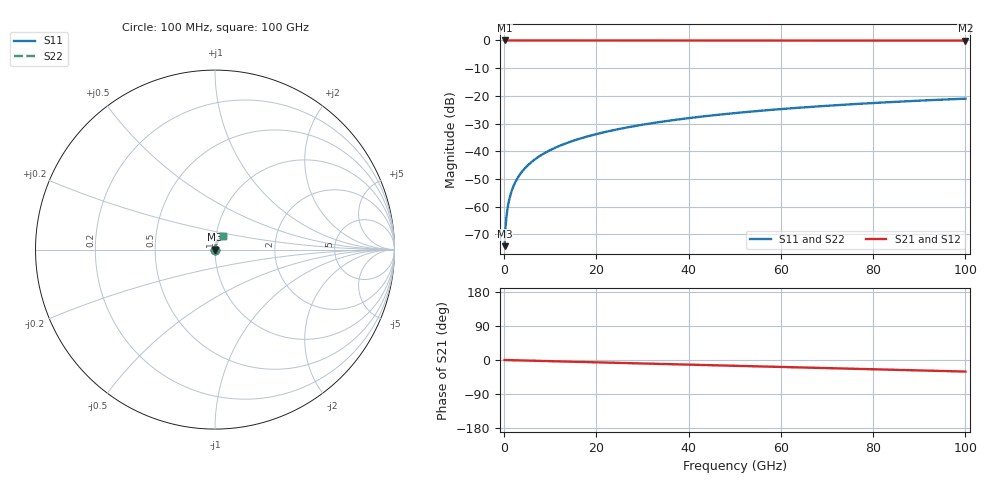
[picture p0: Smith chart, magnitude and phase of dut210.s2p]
! Touchstone file exported from HFSS 2026.1.0
!  File:  C:/ffzhzh/LocalFiles/Ansys_Project_Files/temp_train_TSV_210_1783507636_41296.aedt
!  Generated:  06:48:32 PM Jul  8, 2026
!  Design:  TSV
!  Project:  temp_train_TSV_210_1783507636_41296
! Variables:
!  h_bsmrdl = 2um
!  h_ox = 20um
!  h_rdl = 5um
!  h_sub = 57.29um
!  h_tmrdl = 5um
!  h_tsv = 57.29um
!  h_via = 3um
!  l_bsmrdl = 300um
!  l_sub = 416.08um
!  l_tmrdl = 200um
!  m_sub = 200um
!  pitch = 40.44um
!  r_tsv = 8.04um
!  s_tmrdl = 10um
!  w_bsmrdl = 18um
!  w_sub = 500um
!  w_tmrdl = 12um
!  x_tsv_center1 = 206um
!  x_tsv_center2 = 524um
!  x_tsv_center3 = 736um
!  x_tsv_center4 = 1054um
!  x_tsv_center5 = 1266um
!  x_tsv_center6 = 1584um
# GHz S MA R 50.000000
! Terminal data exported
! Port[1] = TSV1_1_T1
! Port[2] = TSV1_1_T2
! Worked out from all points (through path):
!   1000 points, 100 MHz to 100 GHz, reference 50 ohm
!   highest |S21| = 0.00 dB at 100 MHz (marker M1); lowest = -0.1 dB at 100 GHz (marker M2)
!   group delay of S21, straight-line fit = 847 fs
!   lowest |S11| = -74.2 dB at 100 MHz (marker M3), VSWR 1.00, Z = 50 + j0.0137 ohm
!   |S11| at or under -10 dB: start of sweep to end of sweep
!   |S22| runs from -74.2 to -21.0 dB; largest |S21 - S12| = 3.3e-15
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0.1  0.0001942 44.7  0.9999 -0.0  0.9999 -0.0  0.0001942 44.7
! Gamma 0 0 0 0
! Port Impedance 50 0 50 0
0.4  0.0005448 70.7  0.9998 -0.1  0.9998 -0.1  0.0005448 70.7
0.7  0.0008884 75.7  0.9998 -0.2  0.9998 -0.2  0.0008884 75.7
0.8  0.001001 76.7  0.9998 -0.3  0.9998 -0.3  0.001001 76.7
1.1  0.001339 78.6  0.9997 -0.3  0.9997 -0.3  0.001339 78.6
1.4  0.001672 79.7  0.9997 -0.4  0.9997 -0.4  0.001672 79.7
1.9  0.002219 80.7  0.9997 -0.6  0.9997 -0.6  0.002219 80.7
2.4  0.002755 81.2  0.9996 -0.8  0.9996 -0.8  0.002755 81.2
3.1  0.00349 81.7  0.9995 -1.0  0.9995 -1.0  0.00349 81.7
3.9  0.004318 82.1  0.9995 -1.2  0.9995 -1.2  0.004318 82.1
4.9  0.005343 82.5  0.9994 -1.5  0.9994 -1.5  0.005343 82.5
6.1  0.006569 82.7  0.9994 -1.9  0.9994 -1.9  0.006569 82.7
8.9  0.009408 82.7  0.9992 -2.8  0.9992 -2.8  0.009408 82.7
12.4  0.01293 82.1  0.999 -3.8  0.999 -3.8  0.01293 82.1
16.8  0.0173 81.3  0.9988 -5.2  0.9988 -5.2  0.0173 81.3
24.2  0.02456 79.6  0.9984 -7.4  0.9984 -7.4  0.02456 79.6
33.4  0.03343 77.3  0.998 -10.2  0.998 -10.2  0.03343 77.3
41.2  0.0408 75.1  0.9975 -12.6  0.9975 -12.6  0.0408 75.1
50.1  0.04899 72.6  0.997 -15.3  0.997 -15.3  0.04899 72.6
66.7  0.06351 67.7  0.9959 -20.4  0.9959 -20.4  0.06351 67.7
83.4  0.07698 62.8  0.9947 -25.5  0.9947 -25.5  0.07698 62.8
100  0.08913 58.0  0.9934 -30.5  0.9934 -30.5  0.08913 58.0
